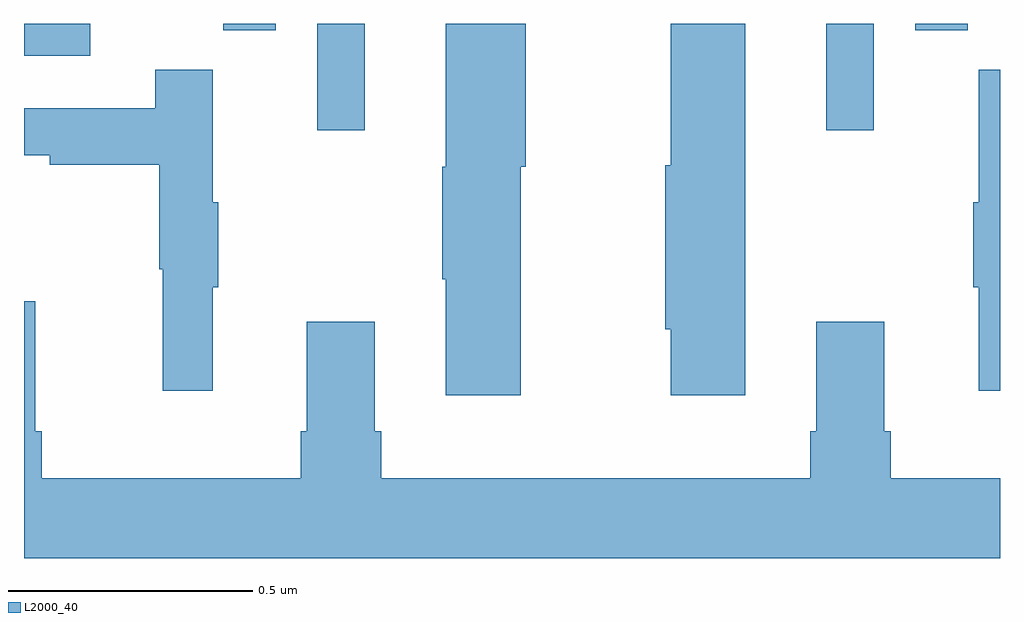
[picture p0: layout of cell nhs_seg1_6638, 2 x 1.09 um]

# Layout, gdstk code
import gdstk
lib = gdstk.Library(unit=1e-6, precision=1e-09)
def R(c, l, rs):  # rectangles x0, y0, x1, y1
    for r in rs: c.add(gdstk.rectangle(r[:2], r[2:], *l))
def P(c, l, *ps):  # polygons
    for p in ps: c.add(gdstk.Polygon(p, *l))
L2000_40 = (2000, 40)

nhs_seg1_6638 = lib.new_cell('nhs_seg1_6638')
R(nhs_seg1_6638, L2000_40, [(194.601,513.981,194.698,514.199), (195.644,513.981,195.741,514.199), (194,514.134,194.136,514.199), (194.408,514.186,194.516,514.199), (195.826,514.186,195.934,514.199)])
P(nhs_seg1_6638, L2000_40, [(195.478,514.199),(195.325,514.199),(195.325,513.909),(195.314,513.909),(195.314,513.573),(195.325,513.573),(195.325,513.438),(195.478,513.438)],
  [(195.018,513.906),(195.028,513.906),(195.028,514.199),(194.864,514.199),(194.864,513.906),(194.857,513.906),(194.857,513.676),(194.864,513.676),(194.864,513.438),(195.018,513.438)],
  [(196,514.105),(195.956,514.105),(195.956,513.833),(195.945,513.833),(195.945,513.659),(195.956,513.659),(195.956,513.447),(196,513.447)],
  [(194.387,513.659),(194.398,513.659),(194.398,513.833),(194.387,513.833),(194.387,514.105),(194.269,514.105),(194.269,514.026),(194,514.026),(194,513.93),(194.053,513.93),(194.053,513.91),(194.277,513.91),(194.277,513.696),(194.284,513.696),(194.284,513.447),(194.387,513.447)],
  [(196,513.268),(195.776,513.268),(195.776,513.364),(195.763,513.364),(195.763,513.589),(195.623,513.589),(195.623,513.364),(195.611,513.364),(195.611,513.268),(194.732,513.268),(194.732,513.364),(194.719,513.364),(194.719,513.589),(194.579,513.589),(194.579,513.364),(194.567,513.364),(194.567,513.268),(194.036,513.268),(194.036,513.364),(194.023,513.364),(194.023,513.631),(194,513.631),(194,513.104),(196,513.104)])

lib.write_gds('nhs_seg1_6638.gds')
